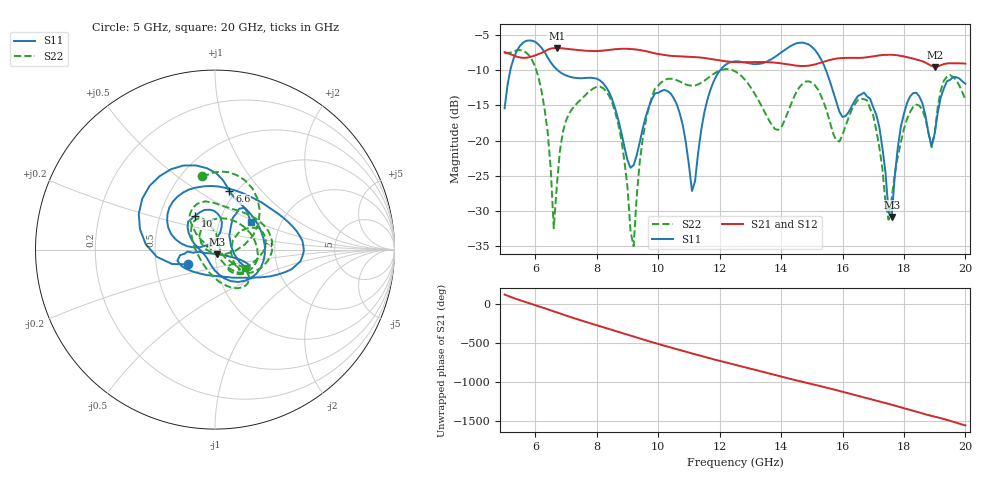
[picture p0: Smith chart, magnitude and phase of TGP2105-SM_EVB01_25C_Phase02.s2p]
! Date: Wednesday, June 05, 2013  1:49 PM
! Filename: C:\Data\Mike_Arnold\TGP2105-SM\Over_Temp\TGP2105-SM_EVB01_25C_Phase2.s2p
! Comments:
!^VDC(V):5.000
!^VDC(mA):0.024
!%Freq(GHz),S11(dB),S11(ang),S21(dB),S21(ang),S12(dB),S12(ang),S22(dB),S22(ang)
# GHz  S  DB  R  50
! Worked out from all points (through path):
!   151 points, 5 GHz to 20 GHz, reference 50 ohm
!   highest |S21| = -6.89 dB at 6.7 GHz (marker M1); lowest = -9.6 dB at 19 GHz (marker M2)
!   lowest |S11| = -30.8 dB at 17.6 GHz (marker M3), VSWR 1.06, Z = 51.1 - j2.71 ohm
!   |S11| at or under -10 dB: start of sweep to 5.188 GHz; 6.722 GHz to 12.02 GHz (5.302 GHz wide, 56.6 % of centre); 15.46 GHz to end of sweep
!   |S22| runs from -35.0 to -7.2 dB; largest |S21 - S12| = 0.0022
!   S11 on the Smith chart (normalised r, x): 5 GHz: 0.73, -0.12; 6.6 GHz: 0.93, +0.69; 10 GHz: 0.75, +0.30; 20 GHz: 1.41, +0.46
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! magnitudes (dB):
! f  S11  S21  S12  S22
! 5 GHz  -15.4  -7.5  -7.5  -7.6
! 6.1 GHz  -6.4  -7.8  -7.8  -11.0
! 6.6 GHz  -9.5  -6.9  -6.9  -32.4
! 6.7 GHz  -9.9  -6.9  -6.9  -26.4
! 7.5 GHz  -11.2  -7.2  -7.2  -14.1
! 8.5 GHz  -14.1  -7.1  -7.1  -14.6
! 9.2 GHz  -23.5  -7.1  -7.1  -35.0
! 9.5 GHz  -18.2  -7.2  -7.3  -19.6
! 10 GHz  -13.2  -7.7  -7.8  -12.2
! 11.1 GHz  -27.1  -8.1  -8.2  -12.2
! 11.7 GHz  -12.8  -8.4  -8.4  -10.9
! 12.5 GHz  -8.8  -8.9  -8.9  -10.2
! 13.9 GHz  -7.8  -9.0  -9.0  -18.5
! 15 GHz  -6.7  -9.3  -9.3  -11.8
! 15.8 GHz  -14.6  -8.4  -8.4  -20.0
! 16.8 GHz  -13.8  -8.2  -8.2  -14.3
! 17.5 GHz  -30.2  -7.8  -7.9  -31.2
! 17.6 GHz  -30.8  -7.8  -7.9  -28.2
! 18.2 GHz  -13.7  -8.3  -8.3  -15.9
! 19 GHz  -19.0  -9.6  -9.6  -19.0
! 19.4 GHz  -11.6  -9.1  -9.1  -10.9
! 20 GHz  -11.9  -9.1  -9.1  -14.2
